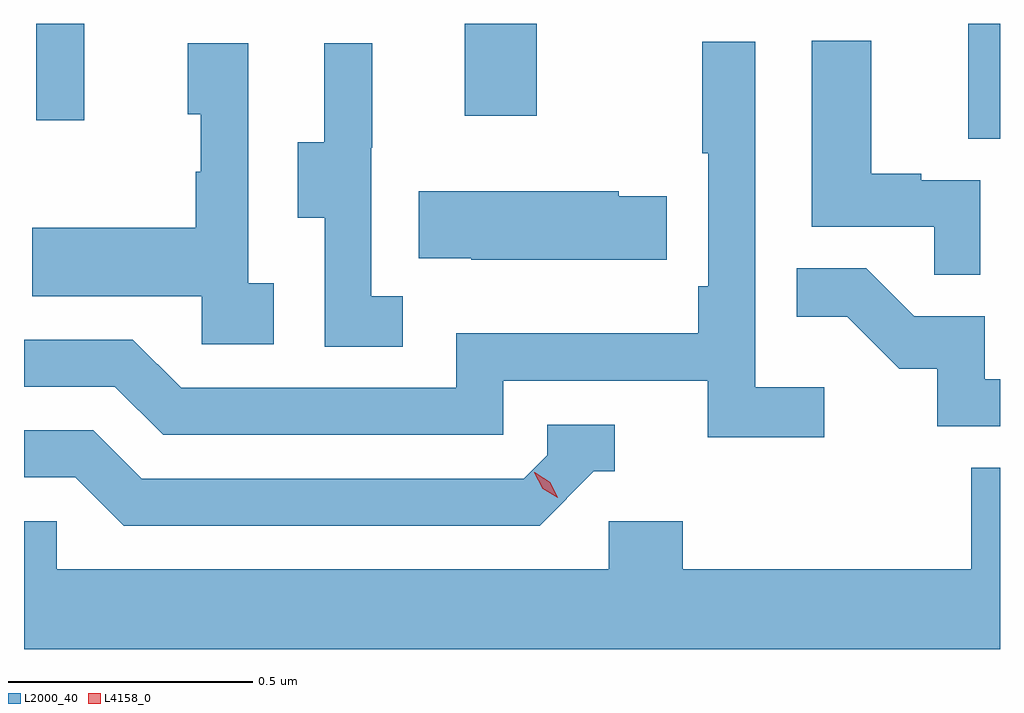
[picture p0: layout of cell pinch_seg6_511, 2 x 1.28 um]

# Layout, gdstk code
import gdstk
lib = gdstk.Library(unit=1e-6, precision=1e-09)
def R(c, l, rs):  # rectangles x0, y0, x1, y1
    for r in rs: c.add(gdstk.rectangle(r[:2], r[2:], *l))
def P(c, l, *ps):  # polygons
    for p in ps: c.add(gdstk.Polygon(p, *l))
L2000_40 = (2000, 40)
L4158_0 = (4158, 0)

pinch_seg6_511 = lib.new_cell('pinch_seg6_511')
R(pinch_seg6_511, L2000_40, [(858.767,936.394,858.832,936.629), (856.857,936.432,856.955,936.629), (857.735,936.441,857.883,936.629)])
P(pinch_seg6_511, L2000_40, [(858.792,936.309),(858.671,936.309),(858.671,936.322),(858.568,936.322),(858.568,936.595),(858.446,936.595),(858.446,936.213),(858.697,936.213),(858.697,936.115),(858.792,936.115)],
  [(858.472,935.884),(858.33,935.884),(858.33,936.592),(858.222,936.592),(858.222,936.364),(858.234,936.364),(858.234,936.091),(858.214,936.091),(858.214,935.995),(857.718,935.995),(857.718,935.883),(857.154,935.883),(857.055,935.982),(856.832,935.982),(856.832,935.886),(857.018,935.886),(857.117,935.787),(857.814,935.787),(857.814,935.898),(858.233,935.898),(858.233,935.782),(858.472,935.782)],
  [(857.344,936.098),(857.292,936.098),(857.292,936.589),(857.168,936.589),(857.168,936.444),(857.194,936.444),(857.194,936.326),(857.184,936.326),(857.184,936.211),(856.849,936.211),(856.849,936.071),(857.196,936.071),(857.196,935.973),(857.344,935.973)],
  [(857.608,936.071),(857.544,936.071),(857.544,936.375),(857.546,936.375),(857.546,936.589),(857.447,936.589),(857.447,936.387),(857.393,936.387),(857.393,936.232),(857.448,936.232),(857.448,935.968),(857.608,935.968)],
  [(858.149,936.276),(858.051,936.276),(858.051,936.286),(857.641,936.286),(857.641,936.149),(857.749,936.149),(857.749,936.146),(858.149,936.146)],
  [(858.832,935.901),(858.801,935.901),(858.801,936.03),(858.656,936.03),(858.558,936.128),(858.415,936.128),(858.415,936.029),(858.519,936.029),(858.626,935.922),(858.703,935.922),(858.703,935.805),(858.832,935.805)],
  [(858,935.712),(858.043,935.712),(858.043,935.808),(857.904,935.808),(857.904,935.745),(857.856,935.697),(857.073,935.697),(856.974,935.796),(856.832,935.796),(856.832,935.7),(856.937,935.7),(857.036,935.601),(857.889,935.601)],
  [(856.832,935.61),(856.832,935.348),(858.832,935.348),(858.832,935.72),(858.773,935.72),(858.773,935.512),(858.182,935.512),(858.182,935.61),(858.03,935.61),(858.03,935.512),(856.899,935.512),(856.899,935.61)])
P(pinch_seg6_511, L4158_0, [(857.926,935.658),(857.895,935.677),(857.878,935.709),(857.878,935.71),(857.879,935.71),(857.91,935.69),(857.926,935.658),(857.926,935.658)])

lib.write_gds('pinch_seg6_511.gds')
